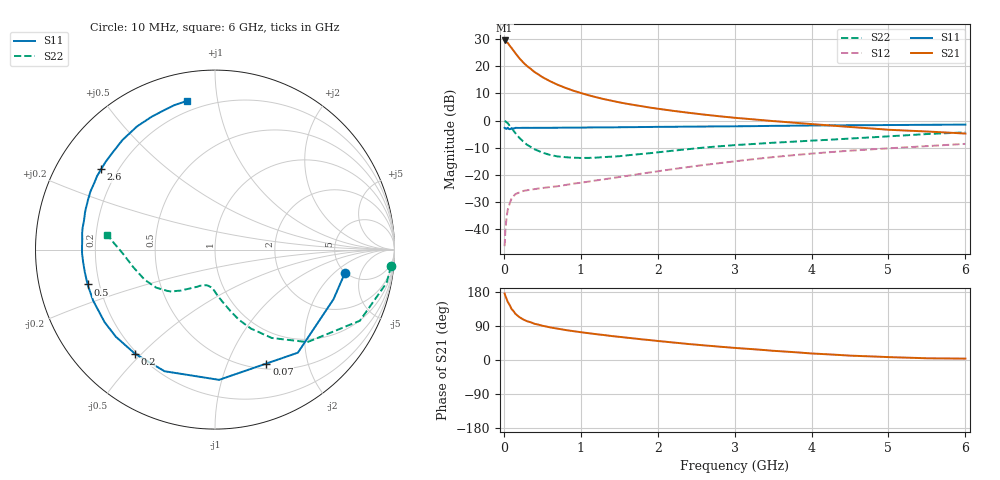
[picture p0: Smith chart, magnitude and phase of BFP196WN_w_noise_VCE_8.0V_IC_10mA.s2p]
! Infineon Technologies  Discrete & RF Semiconductors
! BFP196WN
! VCE =  8.0 V,  IC =  10 mA
! Common Emitter S-Parameters:  Jan 2017
# GHz  S  MA  R  50
!  f  S11  S21  S12  S22
! GHz  MAG  ANG  MAG  ANG  MAG  ANG  MAG  ANG
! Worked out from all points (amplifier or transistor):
!   77 points, 10 MHz to 6 GHz, reference 50 ohm
!   highest |S21| = 29.6 dB at 10 MHz (marker M1)
!   |S21| within 3 dB of that: start of sweep to 106.2 MHz
!   unconditionally stable (mu >= 1): 1.175 GHz to 2.576 GHz
!   at 130 MHz: K = 0.19, MSG = 26.7 dB, |S12| = -27.8 dB
!   at 2.2 GHz: K = 1.05, MAG = 9.4 dB, |S12| = -17.9 dB
!   at 6 GHz: K = 0.86, MSG = 1.9 dB, |S12| = -8.6 dB
!   lowest NFmin = 0.92 dB at 450 MHz
!   S11 on the Smith chart (normalised r, x): 10 MHz: 4.92, -2.79; 70 MHz: 0.56, -1.39; 200 MHz: 0.19, -0.48; 500 MHz: 0.15, -0.13; 2.6 GHz: 0.14, +0.31; 6 GHz: 0.14, +0.82
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0.01  0.7354 -10.2  30.14 175.4  0.0048 86.4  0.986 -5.3
0.02  0.7159 -22.7  28.94 169.0  0.0093 82.9  0.9736 -11.0
0.05  0.7369 -51.2  27.29 153.8  0.0223 66.6  0.899 -26.2
0.07  0.6964 -65.7  24.83 147.2  0.0277 58.8  0.8203 -32.8
0.1  0.726 -88.2  21.93 134.7  0.0364 51.7  0.7279 -45.1
0.15  0.7337 -112.5  17.56 122.0  0.0439 42.7  0.585 -57.3
0.2  0.7316 -127.6  14.25 113.4  0.047 37.5  0.4827 -65.6
0.25  0.7354 -138.7  11.91 107.2  0.0501 34.6  0.4136 -71.1
0.3  0.7361 -146.7  10.19 102.5  0.0517 33.2  0.359 -75.4
0.4  0.7361 -157.3  7.856 95.5  0.0543 33.4  0.2948 -81.7
0.5  0.736 -164.7  6.36 90.5  0.0569 34.1  0.2569 -86.8
0.6  0.7362 -170.2  5.337 86.2  0.0592 35.5  0.2319 -90.5
0.7  0.7378 -174.4  4.581 82.7  0.0613 38.3  0.2175 -93.3
0.9  0.7411 178.4  3.575 76.2  0.0683 42.4  0.2066 -99.2
1.1  0.7457 173.1  2.94 70.8  0.0746 46.6  0.2046 -103.9
1.5  0.7527 164.3  2.171 61.1  0.0907 52.8  0.2198 -113.2
2.1  0.7665 153.2  1.584 48.3  0.1213 58.3  0.2686 -125.1
2.6  0.7766 144.7  1.291 38.6  0.1513 59.6  0.3173 -133.4
3.1  0.7858 136.7  1.096 30.5  0.1836 58.7  0.3592 -141.0
4.1  0.813 120.9  0.841 16.2  0.2519 53.0  0.433 -159.2
5.1  0.8285 109.0  0.667 7.0  0.3131 45.4  0.5217 -178.6
6  0.8432 100.5  0.576 3.6  0.3714 38.5  0.6055 172.1
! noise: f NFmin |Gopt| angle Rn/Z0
0.45  0.92  0.37  146  0.05
0.9  1.09  0.52  167  0.05
1.9  2.29  0.71  206  0.13
2.4  3.04  0.72  213  0.24
